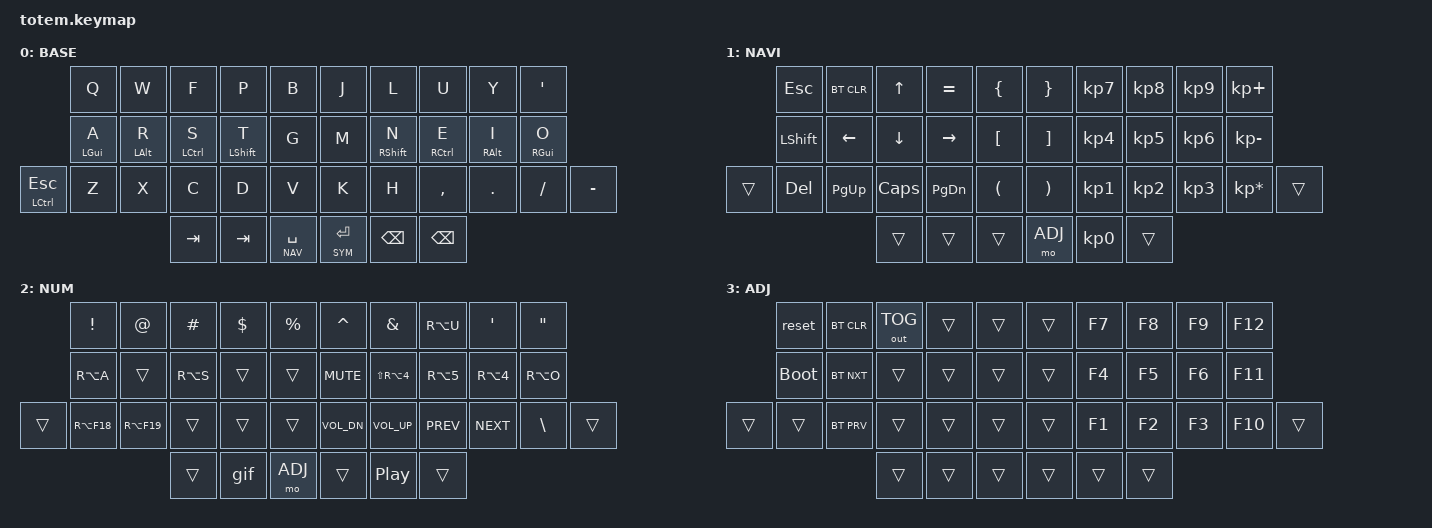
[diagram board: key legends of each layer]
//
//                                                        ▀▀▀▀▀     ▀▀▀▀▀          ▀▀█▀▀
//                                                        ▄▀▀▀▄  ▄  ▄▀▀▀▄  ▄  ▄▀▀▀▄  █  ▄▀▀▀▄
//                                                        █   █  █  █   █  █  █   █  █  █   █
//                                                         ▀▀▀   █   ▀▀▀   █   ▀▀▀   ▀   ▀▀▀
//                                                               █      ▄▄▄█▄▄▄    █   █  
//                                                               ▀      █  █  █     █▄█
//                                                             ▀▀▀▀▀    █  █  █      ▀
//                                                                      ▀  ▀  ▀
//
// ▄▄▄▄▄▄▄▄▄▄▄▄▄▄▄▄▄▄▄▄▄▄▄▄▄▄▄▄▄▄▄▄▄▄▄▄▄▄▄▄▄▄▄▄▄▄▄▄▄▄▄▄▄▄▄▄▄▄▄▄▄▄▄▄▄▄▄▄▄▄▄▄▄▄▄▄▄▄▄▄▄▄▄▄▄▄▄▄▄▄▄▄▄▄▄▄▄▄▄▄▄▄▄▄▄▄▄▄▄▄▄▄▄▄▄▄▄▄▄▄▄▄▄▄▄▄▄▄▄▄▄▄▄▄▄▄▄▄▄▄▄▄▄▄▄▄▄▄▄
       

#include <behaviors.dtsi>
#include <dt-bindings/zmk/keys.h>
#include <dt-bindings/zmk/bt.h>
#include <dt-bindings/zmk/outputs.h>

#define BASE 0
#define NAV  1
#define NUM  2
#define ADJ  3

&mt {
  quick-tap-ms = <100>;
  global-quick-tap;
  flavor = "tap-preferred";
  tapping-term-ms = <170>;
};

/ {
    combos {
            compatible = "zmk,combos";
            combo_esc {
                timeout-ms = <50>;
                key-positions = <0 1>;
                bindings = <&kp ESC>;
            };
		combo_lbrc {
		timeout-ms = <50>;
		key-positions = <3 4>;
		bindings = <&kp LS(LBKT)>;
		};
		combo_rbrc {
		timeout-ms = <50>;
		key-positions = <5 6>;
		bindings = <&kp RS(RBKT)>;
		};
		combo_lbkt {
		timeout-ms = <50>;
		key-positions = <24 25>;
		bindings = <&kp LBKT>;
		};
		combo_rbkt {
		timeout-ms = <50>;
		key-positions = <26 27>;
		bindings = <&kp RBKT>;
		};
		/* combo_capsword {
		timeout-ms = <50>;
		key-positions = <24 35>;
		bindings = <&caps_word>;
		}; */
    };

    behaviors {
        hm: homerow_mods {
            compatible = "zmk,behavior-hold-tap";
            label = "HOMEROW_MODS";
            #binding-cells = <2>;
            tapping-term-ms = <250>;
            quick_tap_ms = <0>;
            flavor = "balanced";
            bindings = <&kp>, <&kp>;
        };
        hs: homerow_shift {
            compatible = "zmk,behavior-hold-tap";
            label = "HOMEROW_SHIFT";
            #binding-cells = <2>;
            tapping-term-ms = <175>;
            quick_tap_ms = <0>;
            flavor = "balanced";
            bindings = <&kp>, <&kp>;
        };
        coln: inverted_colon {
            compatible = "zmk,behavior-mod-morph";
            label = "COLON";
            #binding-cells = <0>;
            bindings = <&kp LS(SCLN)>, <&kp SCLN>;
            mods = <(MOD_LSFT|MOD_RSFT)>;
        };
    };

    conditional_layers {
        compatible = "zmk,conditional-layers";
        tri_layer {
            if-layers = <NAV NUM>;
            then-layer = <ADJ>;
        };
    };

        keymap {
                compatible = "zmk,keymap";
// ▄▄▄▄▄▄▄▄▄▄▄▄▄▄▄▄▄▄▄▄▄▄▄▄▄▄▄▄▄▄▄▄▄▄▄▄▄▄▄▄▄▄▄▄▄▄▄▄▄▄▄▄▄▄▄▄▄▄▄▄▄▄▄▄▄▄▄▄▄▄▄▄▄▄▄▄▄▄▄▄▄▄▄▄▄▄▄▄▄▄▄▄▄▄▄▄▄▄▄▄▄▄▄▄▄▄▄▄▄▄▄▄▄▄▄▄▄▄▄▄▄▄▄▄▄▄▄▄▄▄▄▄▄▄▄▄▄▄▄▄▄▄▄▄▄▄▄▄▄

                base_layer {
// ┏━━━━━━━━━━━━━━━━━━━━━━━━━━━━━━━━━━━━━━━┓
label= "BASE"                              ;
// ┗━━━━━━━━━━━━━━━━━━━━━━━━━━━━━━━━━━━━━━━┛
//             ┏━━━━━━━━━━━┳━━━━━━━━━━━┳━━━━━━━━━━━┳━━━━━━━━━━━┳━━━━━━━━━━━┓   ┏━━━━━━━━━━━┳━━━━━━━━━━━┳━━━━━━━━━━━┳━━━━━━━━━━━┳━━━━━━━━━━━┓
//             ┃     Q     ┃     W     ┃     F     ┃     P     ┃     G     ┃   ┃     J     ┃     L     ┃     U     ┃     Y     ┃     ;     ┃
//             ┣━━━━━━━━━━━╋━━━━━━━━━━━╋━━━━━━━━━━━╋━━━━━━━━━━━╋━━━━━━━━━━━┫   ┣━━━━━━━━━━━╋━━━━━━━━━━━╋━━━━━━━━━━━╋━━━━━━━━━━━╋━━━━━━━━━━━┫
//             ┃     A     ┃     R     ┃     S     ┃     T     ┃     D     ┃   ┃     H     ┃     N     ┃     E     ┃     I     ┃     O     ┃
// ┏━━━━━━━━━━━╋━━━━━━━━━━━╋━━━━━━━━━━━╋━━━━━━━━━━━╋━━━━━━━━━━━╋━━━━━━━━━━━┫   ┣━━━━━━━━━━━╋━━━━━━━━━━━╋━━━━━━━━━━━╋━━━━━━━━━━━╋━━━━━━━━━━━╋━━━━━━━━━━━┓
// ┃           ┃     Z     ┃     X     ┃     C     ┃     V     ┃     B     ┃   ┃     K     ┃     M     ┃     ,     ┃     .     ┃     /     ┃           ┃
// ┗━━━━━━━━━━━┻━━━━━━━━━━━┻━━━━━━━━━━━╋━━━━━━━━━━━╋━━━━━━━━━━━╋━━━━━━━━━━━┫   ┣━━━━━━━━━━━╋━━━━━━━━━━━╋━━━━━━━━━━━╋━━━━━━━━━━━┻━━━━━━━━━━━┻━━━━━━━━━━━┛
//                                     ┃           ┃    TAB    ┃    SPC    ┃   ┃   ENTER   ┃   BSPC    ┃           ┃
//                                     ┗━━━━━━━━━━━┻━━━━━━━━━━━┻━━━━━━━━━━━┛   ┗━━━━━━━━━━━┻━━━━━━━━━━━┻━━━━━━━━━━━┛
 bindings = <
// ╷           ╷           ╷           ╷           ╷           ╷           ╷   ╷           ╷           ╷           ╷           ╷           ╷           ╷

                &kp Q       &kp W       &kp F       &kp P       &kp B           &kp J       &kp L       &kp U       &kp Y       &kp SQT
                &hm LGUI A  &hm LALT R  &hm LCTRL S &hs LSHFT T &kp G           &kp M       &hs RSHFT N &hm RCTRL E &hm RALT I  &hm RGUI O
    &hm LCTL ESC &kp Z       &kp X       &kp C       &kp D       &kp V           &kp K       &kp H       &kp COMMA   &kp DOT     &kp FSLH    &kp MINUS
                                        &kp TAB     &kp TAB     &lt NAV SPACE   &lt SYM RET &kp BSPC    &kp BSPC
                        >;
                };

// ▄▄▄▄▄▄▄▄▄▄▄▄▄▄▄▄▄▄▄▄▄▄▄▄▄▄▄▄▄▄▄▄▄▄▄▄▄▄▄▄▄▄▄▄▄▄▄▄▄▄▄▄▄▄▄▄▄▄▄▄▄▄▄▄▄▄▄▄▄▄▄▄▄▄▄▄▄▄▄▄▄▄▄▄▄▄▄▄▄▄▄▄▄▄▄▄▄▄▄▄▄▄▄▄▄▄▄▄▄▄▄▄▄▄▄▄▄▄▄▄▄▄▄▄▄▄▄▄▄▄▄▄▄▄▄▄▄▄▄▄▄▄▄▄▄▄▄▄▄


                nav_layer {
// ┏━━━━━━━━━━━━━━━━━━━━━━━━━━━━━━━━━━━━━━━┓
label= "NAVI"                              ;
// ┗━━━━━━━━━━━━━━━━━━━━━━━━━━━━━━━━━━━━━━━┛
//             ┏━━━━━━━━━━━┳━━━━━━━━━━━┳━━━━━━━━━━━┳━━━━━━━━━━━┳━━━━━━━━━━━┓   ┏━━━━━━━━━━━┳━━━━━━━━━━━┳━━━━━━━━━━━┳━━━━━━━━━━━┳━━━━━━━━━━━┓
//             ┃           ┃           ┃     UP    ┃           ┃     {     ┃   ┃     }     ┃     7     ┃     8     ┃     9     ┃     +     ┃
//             ┣━━━━━━━━━━━╋━━━━━━━━━━━╋━━━━━━━━━━━╋━━━━━━━━━━━╋━━━━━━━━━━━┫   ┣━━━━━━━━━━━╋━━━━━━━━━━━╋━━━━━━━━━━━╋━━━━━━━━━━━╋━━━━━━━━━━━┫
//             ┃   SHIFT   ┃   LEFT    ┃    DOWN   ┃   RIGHT   ┃     [     ┃   ┃     ]     ┃     4     ┃     5     ┃     6     ┃     -     ┃
// ┏━━━━━━━━━━━╋━━━━━━━━━━━╋━━━━━━━━━━━╋━━━━━━━━━━━╋━━━━━━━━━━━╋━━━━━━━━━━━┫   ┣━━━━━━━━━━━╋━━━━━━━━━━━╋━━━━━━━━━━━╋━━━━━━━━━━━╋━━━━━━━━━━━╋━━━━━━━━━━━┓
// ┃           ┃           ┃   P UP    ┃  C LOCK   ┃  P DOWN   ┃     (     ┃   ┃     )     ┃     1     ┃     2     ┃     3     ┃     *     ┃           ┃
// ┗━━━━━━━━━━━┻━━━━━━━━━━━┻━━━━━━━━━━━╋━━━━━━━━━━━╋━━━━━━━━━━━╋━━━━━━━━━━━┫   ┣━━━━━━━━━━━╋━━━━━━━━━━━╋━━━━━━━━━━━╋━━━━━━━━━━━┻━━━━━━━━━━━┻━━━━━━━━━━━┛
//                                     ┃           ┃    TAB    ┃    SPC    ┃   ┃    DEL    ┃     0     ┃           ┃
//                                     ┗━━━━━━━━━━━┻━━━━━━━━━━━┻━━━━━━━━━━━┛   ┗━━━━━━━━━━━┻━━━━━━━━━━━┻━━━━━━━━━━━┛
 bindings = <
// ╷           ╷           ╷           ╷           ╷           ╷           ╷   ╷           ╷           ╷           ╷           ╷           ╷           ╷

                &kp ESC     &bt BT_CLR  &kp UP      &kp EQUAL   &kp LBRC        &kp RBRC    &kp KP_N7   &kp KP_N8   &kp KP_N9   &kp KP_PLUS
                &kp LSHFT   &kp LEFT    &kp DOWN    &kp RIGHT   &kp LBKT        &kp RBKT    &kp KP_N4   &kp KP_N5   &kp KP_N6   &kp KP_MINUS
    &trans      &kp DEL     &kp PG_UP   &kp CAPS    &kp PG_DN   &kp LPAR        &kp RPAR    &kp KP_N1   &kp KP_N2   &kp KP_N3   &kp KP_MULTIPLY &trans      
                                        &trans      &trans      &trans          &mo ADJ     &kp KP_N0   &trans      
                        >;
                };

// ▄▄▄▄▄▄▄▄▄▄▄▄▄▄▄▄▄▄▄▄▄▄▄▄▄▄▄▄▄▄▄▄▄▄▄▄▄▄▄▄▄▄▄▄▄▄▄▄▄▄▄▄▄▄▄▄▄▄▄▄▄▄▄▄▄▄▄▄▄▄▄▄▄▄▄▄▄▄▄▄▄▄▄▄▄▄▄▄▄▄▄▄▄▄▄▄▄▄▄▄▄▄▄▄▄▄▄▄▄▄▄▄▄▄▄▄▄▄▄▄▄▄▄▄▄▄▄▄▄▄▄▄▄▄▄▄▄▄▄▄▄▄▄▄▄▄▄▄▄


                num_layer {
// ┏━━━━━━━━━━━━━━━━━━━━━━━━━━━━━━━━━━━━━━━┓
label= "NUM"                               ;
// ┗━━━━━━━━━━━━━━━━━━━━━━━━━━━━━━━━━━━━━━━┛
//             ┏━━━━━━━━━━━┳━━━━━━━━━━━┳━━━━━━━━━━━┳━━━━━━━━━━━┳━━━━━━━━━━━┓   ┏━━━━━━━━━━━┳━━━━━━━━━━━┳━━━━━━━━━━━┳━━━━━━━━━━━┳━━━━━━━━━━━┓
//             ┃     !     ┃     @     ┃     #     ┃     $     ┃     %     ┃   ┃     ˆ     ┃     &     ┃     Ü     ┃     '     ┃     "     ┃
//             ┣━━━━━━━━━━━╋━━━━━━━━━━━╋━━━━━━━━━━━╋━━━━━━━━━━━╋━━━━━━━━━━━┫   ┣━━━━━━━━━━━╋━━━━━━━━━━━╋━━━━━━━━━━━╋━━━━━━━━━━━╋━━━━━━━━━━━┫
//             ┃     Ä     ┃           ┃    SZ     ┃           ┃           ┃   ┃   MUTE    ┃   YEN     ┃   EURO    ┃  POUND    ┃     Ö     ┃
// ┏━━━━━━━━━━━╋━━━━━━━━━━━╋━━━━━━━━━━━╋━━━━━━━━━━━╋━━━━━━━━━━━╋━━━━━━━━━━━┫   ┣━━━━━━━━━━━╋━━━━━━━━━━━╋━━━━━━━━━━━╋━━━━━━━━━━━╋━━━━━━━━━━━╋━━━━━━━━━━━┓
// ┃           ┃  EMAIL1   ┃  EMAIL2   ┃           ┃           ┃           ┃   ┃   VOL-    ┃   VOL+    ┃   LAST    ┃   NEXT    ┃     \     ┃           ┃
// ┗━━━━━━━━━━━┻━━━━━━━━━━━┻━━━━━━━━━━━╋━━━━━━━━━━━╋━━━━━━━━━━━╋━━━━━━━━━━━┫   ┣━━━━━━━━━━━╋━━━━━━━━━━━╋━━━━━━━━━━━╋━━━━━━━━━━━┻━━━━━━━━━━━┻━━━━━━━━━━━┛
//                                     ┃           ┃    GIF    ┃    ADJ    ┃   ┃           ┃           ┃           ┃
//                                     ┗━━━━━━━━━━━┻━━━━━━━━━━━┻━━━━━━━━━━━┛   ┗━━━━━━━━━━━┻━━━━━━━━━━━┻━━━━━━━━━━━┛
 bindings = <
// ╷           ╷           ╷           ╷           ╷           ╷           ╷   ╷           ╷           ╷           ╷           ╷           ╷           ╷

                &kp EXCL    &kp AT      &kp HASH    &kp DLLR    &kp PRCNT       &kp CARET   &kp AMPS    &kp RA(U)   &kp SQT     &kp DQT       
                &kp RA(A)   &trans      &kp RA(S)   &trans      &trans          &kp C_MUTE  &kp LS(RA(N4)) &kp RA(N5) &kp RA(N4)   &kp RA(O) 
    &trans      &kp RA(F18) &kp RA(F19) &trans      &trans      &trans          &kp C_VOL_DN &kp C_VOL_UP &kp C_PREV &kp C_NEXT  &kp BSLH   &trans         
                                        &trans      &gif        &mo ADJ         &trans      &kp C_PP    &trans      
                        >;
                };

// ▄▄▄▄▄▄▄▄▄▄▄▄▄▄▄▄▄▄▄▄▄▄▄▄▄▄▄▄▄▄▄▄▄▄▄▄▄▄▄▄▄▄▄▄▄▄▄▄▄▄▄▄▄▄▄▄▄▄▄▄▄▄▄▄▄▄▄▄▄▄▄▄▄▄▄▄▄▄▄▄▄▄▄▄▄▄▄▄▄▄▄▄▄▄▄▄▄▄▄▄▄▄▄▄▄▄▄▄▄▄▄▄▄▄▄▄▄▄▄▄▄▄▄▄▄▄▄▄▄▄▄▄▄▄▄▄▄▄▄▄▄▄▄▄▄▄▄▄▄


                adjust_layer {
// ┏━━━━━━━━━━━━━━━━━━━━━━━━━━━━━━━━━━━━━━━┓
label= "ADJ"                               ;
// ┗━━━━━━━━━━━━━━━━━━━━━━━━━━━━━━━━━━━━━━━┛
//             ┏━━━━━━━━━━━┳━━━━━━━━━━━┳━━━━━━━━━━━┳━━━━━━━━━━━┳━━━━━━━━━━━┓   ┏━━━━━━━━━━━┳━━━━━━━━━━━┳━━━━━━━━━━━┳━━━━━━━━━━━┳━━━━━━━━━━━┓
//             ┃   RESET   ┃ BT CLEAR  ┃  OUT TOG  ┃           ┃           ┃   ┃           ┃    F7     ┃    F8     ┃    F9     ┃    F12    ┃
//             ┣━━━━━━━━━━━╋━━━━━━━━━━━╋━━━━━━━━━━━╋━━━━━━━━━━━╋━━━━━━━━━━━┫   ┣━━━━━━━━━━━╋━━━━━━━━━━━╋━━━━━━━━━━━╋━━━━━━━━━━━╋━━━━━━━━━━━┫
//             ┃ BOOTLOAD  ┃ BT NEXT   ┃           ┃           ┃           ┃   ┃           ┃    F4     ┃    F5     ┃    F6     ┃    F11    ┃
// ┏━━━━━━━━━━━╋━━━━━━━━━━━╋━━━━━━━━━━━╋━━━━━━━━━━━╋━━━━━━━━━━━╋━━━━━━━━━━━┫   ┣━━━━━━━━━━━╋━━━━━━━━━━━╋━━━━━━━━━━━╋━━━━━━━━━━━╋━━━━━━━━━━━╋━━━━━━━━━━━┓
// ┃           ┃           ┃ BT PREV   ┃           ┃           ┃           ┃   ┃           ┃    F1     ┃    F2     ┃    F3     ┃    F10    ┃           ┃
// ┗━━━━━━━━━━━┻━━━━━━━━━━━┻━━━━━━━━━━━╋━━━━━━━━━━━╋━━━━━━━━━━━╋━━━━━━━━━━━┫   ┣━━━━━━━━━━━╋━━━━━━━━━━━╋━━━━━━━━━━━╋━━━━━━━━━━━┻━━━━━━━━━━━┻━━━━━━━━━━━┛
//                                     ┃           ┃           ┃           ┃   ┃           ┃           ┃           ┃
//                                     ┗━━━━━━━━━━━┻━━━━━━━━━━━┻━━━━━━━━━━━┛   ┗━━━━━━━━━━━┻━━━━━━━━━━━┻━━━━━━━━━━━┛
 bindings = <
// ╷           ╷           ╷           ╷           ╷           ╷           ╷   ╷           ╷           ╷           ╷           ╷           ╷           ╷

                &reset      &bt BT_CLR &out OUT_TOG &trans      &trans          &trans      &kp F7      &kp F8      &kp F9      &kp F12
                &bootloader &bt BT_NXT  &trans      &trans      &trans          &trans      &kp F4      &kp F5      &kp F6      &kp F11  
    &trans      &trans      &bt BT_PRV  &trans      &trans      &trans          &trans      &kp F1      &kp F2      &kp F3      &kp F10     &trans         
                                        &trans      &trans      &trans          &trans      &trans      &trans      
                        >;
                };
        };
};
